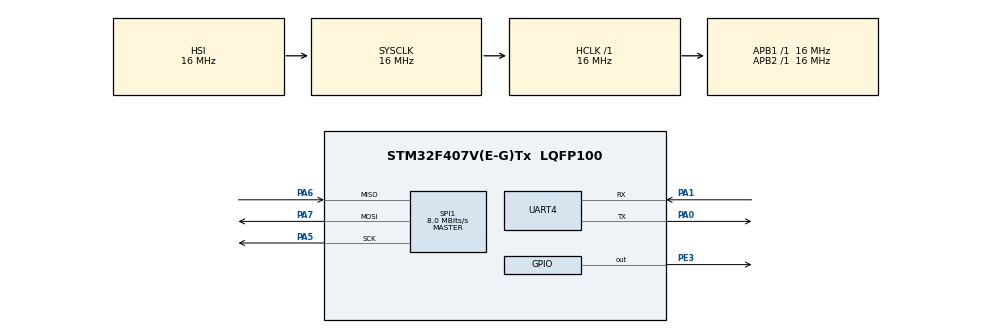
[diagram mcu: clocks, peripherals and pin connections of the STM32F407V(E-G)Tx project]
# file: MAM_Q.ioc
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Mcu.Family=STM32F4
Mcu.Name=STM32F407V(E-G)Tx
Mcu.Package=LQFP100
NVIC.PriorityGroup=NVIC_PRIORITYGROUP_4
NVIC.UART4_IRQn=true\:0\:0\:false\:false\:true\:true\:true\:true
PA0-WKUP.Mode=Asynchronous
PA0-WKUP.Signal=UART4_TX
PA1.Mode=Asynchronous
PA1.Signal=UART4_RX
PA5.Mode=Full_Duplex_Master
PA5.Signal=SPI1_SCK
PA6.Mode=Full_Duplex_Master
PA6.Signal=SPI1_MISO
PA7.Mode=Full_Duplex_Master
PA7.Signal=SPI1_MOSI
PE3.Signal=GPIO_Output
ProjectManager.HeapSize=0x200
ProjectManager.StackSize=0x400
ProjectManager.TargetToolchain=STM32CubeIDE
RCC.AHBFreq_Value=16000000
RCC.APB1Freq_Value=16000000
RCC.APB2Freq_Value=16000000
RCC.CortexFreq_Value=16000000
RCC.HSE_VALUE=25000000
RCC.HSI_VALUE=16000000
RCC.LSE_VALUE=32768
RCC.SYSCLKFreq_VALUE=16000000
RCC.VCOOutputFreq_Value=192000000
SPI1.CalculateBaudRate=8.0 MBits/s
SPI1.Direction=SPI_DIRECTION_2LINES
SPI1.Mode=SPI_MODE_MASTER
SPI1.VirtualType=VM_MASTER
UART4.VirtualMode=Asynchronous
board=custom

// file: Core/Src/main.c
/* USER CODE BEGIN Header */
/**
  ******************************************************************************
  * @file           : main.c
  * @brief          : Main program body
  ******************************************************************************
  * @attention
  *
  * Copyright (c) 2024 STMicroelectronics.
  * All rights reserved.
  *
  * This software is licensed under terms that can be found in the LICENSE file
  * in the root directory of this software component.
  * If no LICENSE file comes with this software, it is provided AS-IS.
  *
  ******************************************************************************
  */
/* USER CODE END Header */
#include "main.h"

SPI_HandleTypeDef hspi1;

UART_HandleTypeDef huart4;

/* USER CODE BEGIN PV */
uint8_t txbuff[2];
uint8_t Rx_x,Rx_y,Rx_z;
uint8_t enter;
char message[50];
/* USER CODE END PV */

void SystemClock_Config(void);
static void MX_GPIO_Init(void);
static void MX_SPI1_Init(void);
static void MX_UART4_Init(void);

int main(void)
{

  /* MCU Configuration--------------------------------------------------------*/

  /* Reset of all peripherals, Initializes the Flash interface and the Systick. */
  HAL_Init();

  /* Configure the system clock */
  SystemClock_Config();

  /* Initialize all configured peripherals */
  MX_GPIO_Init();
  MX_SPI1_Init();
  MX_UART4_Init();
  /* USER CODE BEGIN 2 */
    HAL_GPIO_WritePin(GPIOE, GPIO_PIN_3, 0); //CS PULLED LOW
    txbuff[0]=0x20; //address of control reg 4
    txbuff[1]=0x37;  //data to be filled
    HAL_SPI_Transmit(&hspi1, txbuff, 2,50);
    HAL_GPIO_WritePin(GPIOE, GPIO_PIN_3, 1);//CS PULLED HIGH AGAIN ...WRITE OPERATION COMPLETED

  /* USER CODE END 2 */

  /* Infinite loop */
  while (1)
  {

    /* USER CODE BEGIN 3 */

	  HAL_GPIO_WritePin(GPIOE,GPIO_PIN_3,0);//CS pulled low

	 	  txbuff[0]=0x29|0x80; // Read operation MSB-->1(OR operation)//sending higher byte,which has higher address

	 	  HAL_SPI_Transmit(&hspi1, txbuff, 1,50);

	 	  HAL_SPI_Receive(&hspi1,&Rx_x,1,50);

	 	  HAL_GPIO_WritePin(GPIOE,GPIO_PIN_3,1);

	 	  //Read the OUT_Y register

	 	  	  HAL_GPIO_WritePin(GPIOE,GPIO_PIN_3,0);//CS pulled low

	 	  	  txbuff[0]=0x2B|0x80; // Read operation MSB-->1(OR operation)

	 	  	  HAL_SPI_Transmit(&hspi1, txbuff, 1,50);

	 	  	  HAL_SPI_Receive(&hspi1,&Rx_y,1,50);

	 	  	  HAL_GPIO_WritePin(GPIOE,GPIO_PIN_3,1);

	 	  	//Read the OUT_Z register

	 	  		  HAL_GPIO_WritePin(GPIOE,GPIO_PIN_3,0);//CS pulled low

	 	  		  txbuff[0]=0x2D|0x80; // Read operation MSB-->1(OR operation)

	 	  		  HAL_SPI_Transmit(&hspi1, txbuff, 1,50);

	 	  		  HAL_SPI_Receive(&hspi1,&Rx_z,1,50);

	 	  		  HAL_GPIO_WritePin(GPIOE,GPIO_PIN_3,1);

    HAL_UART_Receive_IT(&huart4, &enter, 1);
  }
  /* USER CODE END 3 */
}

void SystemClock_Config(void)
{
  RCC_OscInitTypeDef RCC_OscInitStruct = {0};
  RCC_ClkInitTypeDef RCC_ClkInitStruct = {0};

  /** Configure the main internal regulator output voltage
  */
  __HAL_RCC_PWR_CLK_ENABLE();
  __HAL_PWR_VOLTAGESCALING_CONFIG(PWR_REGULATOR_VOLTAGE_SCALE1);

  /** Initializes the RCC Oscillators according to the specified parameters
  * in the RCC_OscInitTypeDef structure.
  */
  RCC_OscInitStruct.OscillatorType = RCC_OSCILLATORTYPE_HSI;
  RCC_OscInitStruct.HSIState = RCC_HSI_ON;
  RCC_OscInitStruct.HSICalibrationValue = RCC_HSICALIBRATION_DEFAULT;
  RCC_OscInitStruct.PLL.PLLState = RCC_PLL_NONE;
  if (HAL_RCC_OscConfig(&RCC_OscInitStruct) != HAL_OK)
  {
    Error_Handler();
  }

  /** Initializes the CPU, AHB and APB buses clocks
  */
  RCC_ClkInitStruct.ClockType = RCC_CLOCKTYPE_HCLK|RCC_CLOCKTYPE_SYSCLK
                              |RCC_CLOCKTYPE_PCLK1|RCC_CLOCKTYPE_PCLK2;
  RCC_ClkInitStruct.SYSCLKSource = RCC_SYSCLKSOURCE_HSI;
  RCC_ClkInitStruct.AHBCLKDivider = RCC_SYSCLK_DIV1;
  RCC_ClkInitStruct.APB1CLKDivider = RCC_HCLK_DIV1;
  RCC_ClkInitStruct.APB2CLKDivider = RCC_HCLK_DIV1;

  if (HAL_RCC_ClockConfig(&RCC_ClkInitStruct, FLASH_LATENCY_0) != HAL_OK)
  {
    Error_Handler();
  }
}

static void MX_SPI1_Init(void)
{

  /* SPI1 parameter configuration*/
  hspi1.Instance = SPI1;
  hspi1.Init.Mode = SPI_MODE_MASTER;
  hspi1.Init.Direction = SPI_DIRECTION_2LINES;
  hspi1.Init.DataSize = SPI_DATASIZE_8BIT;
  hspi1.Init.CLKPolarity = SPI_POLARITY_LOW;
  hspi1.Init.CLKPhase = SPI_PHASE_1EDGE;
  hspi1.Init.NSS = SPI_NSS_SOFT;
  hspi1.Init.BaudRatePrescaler = SPI_BAUDRATEPRESCALER_2;
  hspi1.Init.FirstBit = SPI_FIRSTBIT_MSB;
  hspi1.Init.TIMode = SPI_TIMODE_DISABLE;
  hspi1.Init.CRCCalculation = SPI_CRCCALCULATION_DISABLE;
  hspi1.Init.CRCPolynomial = 10;
  if (HAL_SPI_Init(&hspi1) != HAL_OK)
  {
    Error_Handler();
  }

}

static void MX_UART4_Init(void)
{

  huart4.Instance = UART4;
  huart4.Init.BaudRate = 115200;
  huart4.Init.WordLength = UART_WORDLENGTH_8B;
  huart4.Init.StopBits = UART_STOPBITS_1;
  huart4.Init.Parity = UART_PARITY_NONE;
  huart4.Init.Mode = UART_MODE_TX_RX;
  huart4.Init.HwFlowCtl = UART_HWCONTROL_NONE;
  huart4.Init.OverSampling = UART_OVERSAMPLING_16;
  if (HAL_UART_Init(&huart4) != HAL_OK)
  {
    Error_Handler();
  }

}char message[50];

static void MX_GPIO_Init(void)
{
  GPIO_InitTypeDef GPIO_InitStruct = {0};

  /* GPIO Ports Clock Enable */
  __HAL_RCC_GPIOE_CLK_ENABLE();
  __HAL_RCC_GPIOA_CLK_ENABLE();

  /*Configure GPIO pin Output Level */
  HAL_GPIO_WritePin(GPIOE, GPIO_PIN_3, GPIO_PIN_RESET);

  /*Configure GPIO pin : PE3 */
  GPIO_InitStruct.Pin = GPIO_PIN_3;
  GPIO_InitStruct.Mode = GPIO_MODE_OUTPUT_PP;
  GPIO_InitStruct.Pull = GPIO_NOPULL;
  GPIO_InitStruct.Speed = GPIO_SPEED_FREQ_LOW;
  HAL_GPIO_Init(GPIOE, &GPIO_InitStruct);

}

/* USER CODE BEGIN 4 */
void HAL_UART_TxCpltCallback(UART_HandleTypeDef *huart)
{
	  if(enter=='\r')
	  {
		  sprintf(message,"x: %d  y: %d z: %d\r\n",Rx_x,Rx_y,Rx_z);
		  HAL_UART_Transmit(&huart4,(uint8_t*)message,strlen(message),10);
	  }
}
/* USER CODE END 4 */

void Error_Handler(void)
{
  __disable_irq();
  while (1)
  {
  }
}
